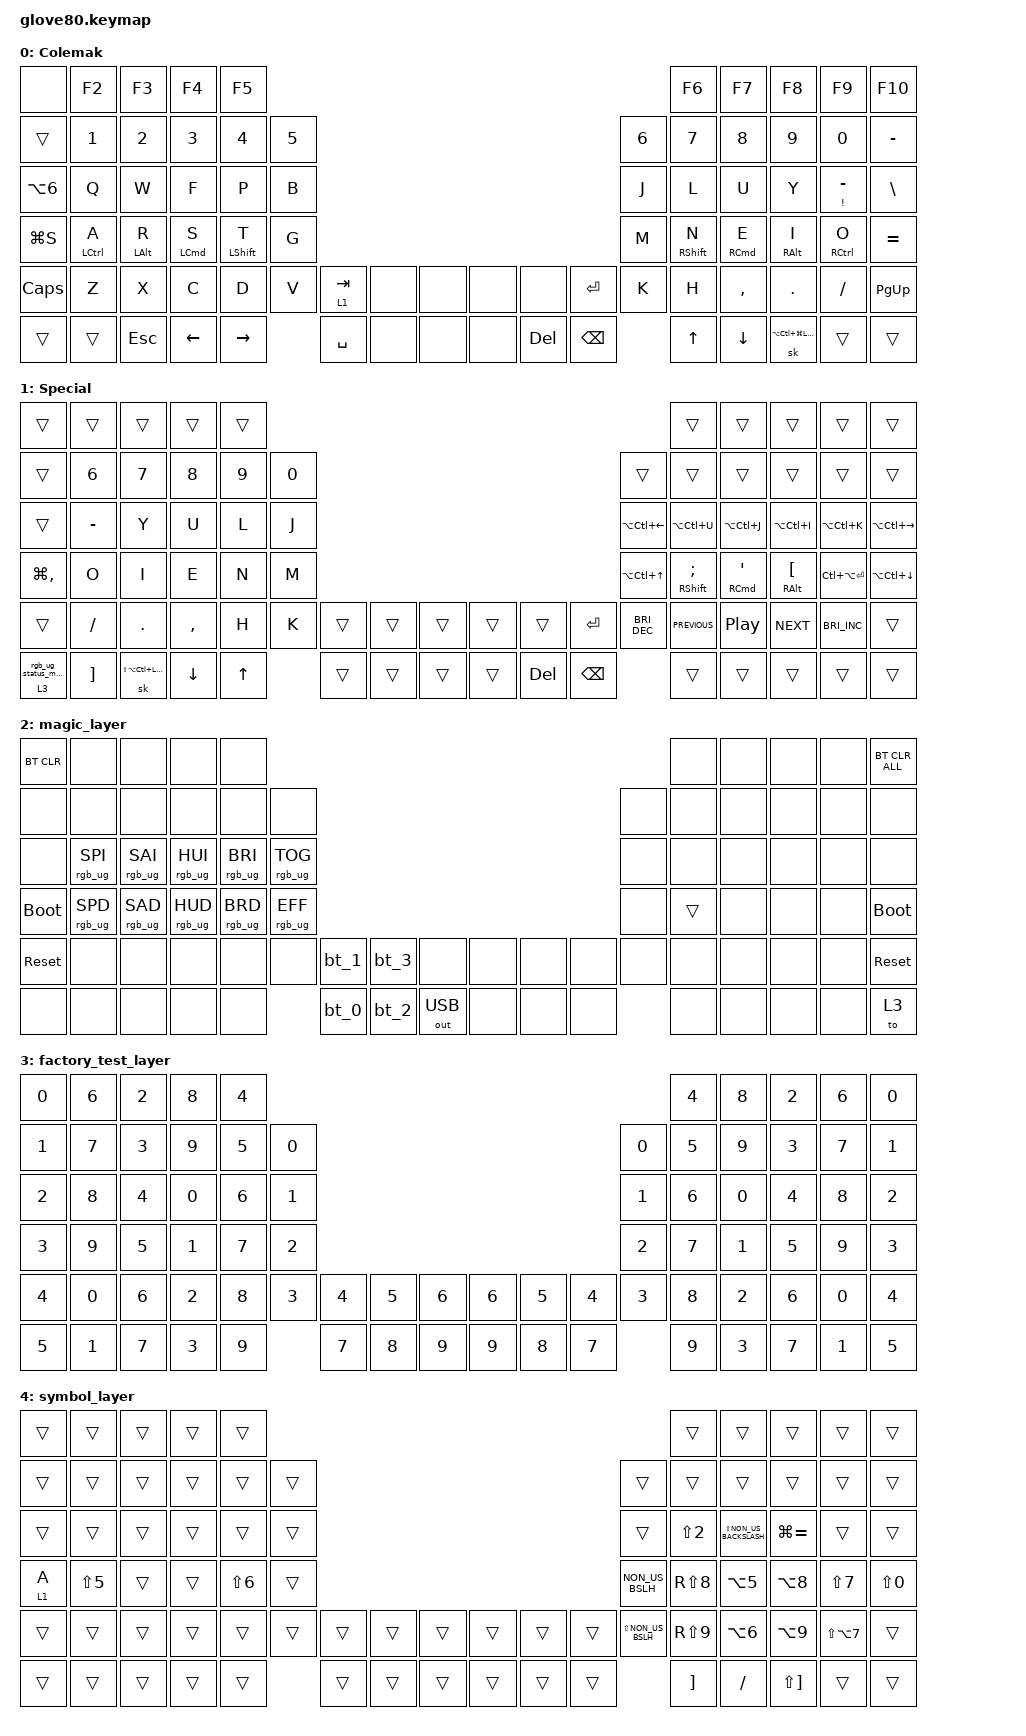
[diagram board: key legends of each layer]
/*
 * Copyright (c) 2020 The ZMK Contributors
 *
 * SPDX-License-Identifier: MIT
 */

#include <behaviors.dtsi>
#include <dt-bindings/zmk/bt.h>
#include <dt-bindings/zmk/keys.h>
#include <dt-bindings/zmk/outputs.h>
#include <dt-bindings/zmk/rgb.h>

#define HYPER LC(LS(LG(LALT)))

// layers

#define DEFAULT 0
#define LOWER 1
#define MAGIC 2
#define FACTORY_TEST 3

&sk { release-after-ms = <2000>; };

&lt { flavor = "hold-preferred"; };

/ {
    behaviors {
        // For the "layer" key, it'd nice to be able to use it as either a shift or a toggle.
        // Configure it as a tap dance, so the first tap (or hold) is a &mo and the second tap is a &to

        layer_td: tap_dance_0 {
            compatible = "zmk,behavior-tap-dance";
            label = "LAYER_TAP_DANCE";
            #binding-cells = <0>;
            tapping-term-ms = <200>;
            bindings = <&mo 0>, <&to 0>;
        };

        magic: magic_hold_tap {
            compatible = "zmk,behavior-hold-tap";
            label = "MAGIC_HOLD_TAP";
            #binding-cells = <2>;
            flavor = "tap-preferred";
            tapping-term-ms = <200>;
            bindings = <&mo>, <&rgb_ug_status_macro>;
        };

        hrm: home_row_mods {
            compatible = "zmk,behavior-hold-tap";
            label = "HOME_ROW_MODS";
            bindings = <&kp>, <&kp>;

            #binding-cells = <2>;
            tapping-term-ms = <200>;
            flavor = "tap-preferred";
        };
    };

    macros {
        rgb_ug_status_macro: rgb_ug_status_macro_0 {
            label = "RGB_UG_STATUS";
            compatible = "zmk,behavior-macro";
            #binding-cells = <0>;
            bindings = <&rgb_ug RGB_STATUS>;
        };

        bt_0: bt_profile_macro_0 {
            label = "BT_0";
            compatible = "zmk,behavior-macro";
            #binding-cells = <0>;
            bindings = <&out OUT_BLE &bt BT_SEL 0>;
        };

        bt_1: bt_profile_macro_1 {
            label = "BT_1";
            compatible = "zmk,behavior-macro";
            #binding-cells = <0>;
            bindings = <&out OUT_BLE &bt BT_SEL 1>;
        };

        bt_2: bt_profile_macro_2 {
            label = "BT_2";
            compatible = "zmk,behavior-macro";
            #binding-cells = <0>;
            bindings = <&out OUT_BLE &bt BT_SEL 2>;
        };

        bt_3: bt_profile_macro_3 {
            label = "BT_3";
            compatible = "zmk,behavior-macro";
            #binding-cells = <0>;
            bindings = <&out OUT_BLE &bt BT_SEL 3>;
        };
    };

    combos {
        compatible = "zmk,combos";

        Escape {
            bindings = <&kp ESCAPE>;
            key-positions = <69 74>;
        };
    };

    keymap {
        compatible = "zmk,keymap";

        Colemak {
            // ---------------------------------------------------------------------------------------------------------------------------------
            // |  F1   |  F2 |  F3 |  F4  |  F5  |                                                               |  F6   |  F7   |  F8  |   F9  |  F10 |
            // |  =    |  1  |  2  |  3   |  4   |  5   |                                                 |  6   |   7   |   8   |  9   |   0   |   -  |
            // |  TAB  |  Q  |  W  |  E   |  R   |  T   |                                                 |  Y   |   U   |   I   |  O   |   P   |   \  |
            // |  ESC  |  A  |  S  |  D   |  F   |  G   |                                                 |  H   |   J   |   K   |  L   |   ;   |   '  |
            // |   `   |  Z  |  X  |  C   |  V   |  B   | LSHFT | LCTRL | LOWER | | LGUI  | RCTRL | RSHFT |  N   |   M   |   ,   |  .   |   /   | PGUP |
            // | MAGIC | HOME| END | LEFT | RIGHT|      | BSPC  | DEL   | LALT  | | RALT  | RET   | SPACE |      |  UP   | DOWN  |  [   |   ]   | PGDN |

            bindings = <
&none             &kp F2               &kp F3           &kp F4               &kp F5                                                                                        &kp F6              &kp F7                &kp F8                      &kp F9                 &kp F10
&trans            &kp N1               &kp N2           &kp N3               &kp N4             &kp N5                                                             &kp N6  &kp N7              &kp N8                &kp N9                      &kp N0                 &kp MINUS
&kp LA(NUMBER_6)  &kp Q                &kp W            &kp F                &kp P              &kp B                                                              &kp J   &kp L               &kp U                 &kp Y                       &mt EXCLAMATION MINUS  &kp BSLH
&kp LG(S)         &hrm LEFT_CONTROL A  &hrm LEFT_ALT R  &hrm LEFT_COMMAND S  &hrm LEFT_SHIFT T  &kp G                                                              &kp M   &hrm RIGHT_SHIFT N  &hrm RIGHT_COMMAND E  &hrm RIGHT_ALT I            &hrm RIGHT_CONTROL O   &kp EQUAL
&kp CAPSLOCK      &kp Z                &kp X            &kp C                &kp D              &kp V   &lt 1 TAB  &none  &none  &none  &none       &kp ENTER      &kp K   &kp H               &kp COMMA             &kp DOT                     &kp SLASH              &kp PG_UP
&trans            &trans               &kp ESCAPE       &kp LEFT             &kp RIGHT                  &kp SPACE  &none  &none  &none  &kp DELETE  &kp BACKSPACE          &kp UP              &kp DOWN              &sk LA(LC(LG(LEFT_SHIFT)))  &trans                 &trans
            >;
        };

        Special {
            bindings = <
&trans         &trans        &trans                        &trans     &trans                                                                                                   &trans                      &trans                  &trans                       &trans                &trans
&trans         &kp NUMBER_6  &kp N7                        &kp N8     &kp N9        &kp N0                                                             &trans                  &trans                      &trans                  &trans                       &trans                &trans
&trans         &kp MINUS     &kp Y                         &kp U      &kp L         &kp J                                                              &kp LA(LC(LEFT_ARROW))  &kp LA(LC(U))               &kp LA(LC(J))           &kp LA(LC(I))                &kp LA(LC(K))         &kp LA(LC(RIGHT))
&kp LG(COMMA)  &kp O         &kp I                         &kp E      &kp N         &kp M                                                              &kp LA(LC(UP_ARROW))    &hrm RIGHT_SHIFT SEMICOLON  &hrm RIGHT_COMMAND SQT  &hrm RIGHT_ALT LEFT_BRACKET  &kp LC(LA(ENTER))     &kp LA(LC(DOWN))
&trans         &kp SLASH     &kp PERIOD                    &kp COMMA  &kp H         &kp K   &trans  &trans  &trans  &trans  &trans      &kp ENTER      &kp C_BRIGHTNESS_DEC    &kp C_PREVIOUS              &kp C_PP                &kp C_NEXT                   &kp C_BRIGHTNESS_INC  &trans
&magic 3 0     &kp RBKT      &sk LS(LA(LC(LEFT_COMMAND)))  &kp DOWN   &kp UP_ARROW          &trans  &trans  &trans  &trans  &kp DELETE  &kp BACKSPACE                          &trans                      &trans                  &trans                       &trans                &trans
            >;
        };

        magic_layer {
            bindings = <
&bt BT_CLR   &none            &none            &none            &none                                                                                     &none   &none  &none  &none  &bt BT_CLR_ALL
&none        &none            &none            &none            &none            &none                                                             &none  &none   &none  &none  &none  &none
&none        &rgb_ug RGB_SPI  &rgb_ug RGB_SAI  &rgb_ug RGB_HUI  &rgb_ug RGB_BRI  &rgb_ug RGB_TOG                                                   &none  &none   &none  &none  &none  &none
&bootloader  &rgb_ug RGB_SPD  &rgb_ug RGB_SAD  &rgb_ug RGB_HUD  &rgb_ug RGB_BRD  &rgb_ug RGB_EFF                                                   &none  &trans  &none  &none  &none  &bootloader
&sys_reset   &none            &none            &none            &none            &none            &bt_1  &bt_3  &none         &none  &none  &none  &none  &none   &none  &none  &none  &sys_reset
&none        &none            &none            &none            &none                             &bt_0  &bt_2  &out OUT_USB  &none  &none  &none         &none   &none  &none  &none  &to 3
            >;
        };

        factory_test_layer {
            bindings = <
&kp N0  &kp N6  &kp N2  &kp N8  &kp N4                                                                  &kp N4  &kp N8  &kp N2  &kp N6  &kp N0
&kp N1  &kp N7  &kp N3  &kp N9  &kp N5  &kp N0                                                  &kp N0  &kp N5  &kp N9  &kp N3  &kp N7  &kp N1
&kp N2  &kp N8  &kp N4  &kp N0  &kp N6  &kp N1                                                  &kp N1  &kp N6  &kp N0  &kp N4  &kp N8  &kp N2
&kp N3  &kp N9  &kp N5  &kp N1  &kp N7  &kp N2                                                  &kp N2  &kp N7  &kp N1  &kp N5  &kp N9  &kp N3
&kp N4  &kp N0  &kp N6  &kp N2  &kp N8  &kp N3  &kp N4  &kp N5  &kp N6  &kp N6  &kp N5  &kp N4  &kp N3  &kp N8  &kp N2  &kp N6  &kp N0  &kp N4
&kp N5  &kp N1  &kp N7  &kp N3  &kp N9          &kp N7  &kp N8  &kp N9  &kp N9  &kp N8  &kp N7          &kp N9  &kp N3  &kp N7  &kp N1  &kp N5
            >;
        };

        symbol_layer {
            bindings = <
&trans   &trans      &trans  &trans  &trans                                                                                         &trans             &trans                    &trans         &trans          &trans
&trans   &trans      &trans  &trans  &trans            &trans                                                  &trans               &trans             &trans                    &trans         &trans          &trans
&trans   &trans      &trans  &trans  &trans            &trans                                                  &trans               &kp LS(NUMBER_2)   &kp LS(NON_US_BACKSLASH)  &kp LG(EQUAL)  &trans          &trans
&lt 1 A  &kp LS(N5)  &trans  &trans  &kp LS(NUMBER_6)  &trans                                                  &kp NON_US_BSLH      &kp RS(N8)         &kp LA(N5)                &kp LA(N8)     &kp LS(N7)      &kp LS(N0)
&trans   &trans      &trans  &trans  &trans            &trans  &trans  &trans  &trans  &trans  &trans  &trans  &kp LS(NON_US_BSLH)  &kp RS(N9)         &kp LA(NUMBER_6)          &kp LA(N9)     &kp LS(LA(N7))  &trans
&trans   &trans      &trans  &trans  &trans                    &trans  &trans  &trans  &trans  &trans  &trans                       &kp RIGHT_BRACKET  &kp SLASH                 &kp LS(RBKT)   &trans          &trans
            >;
        };
    };
};
